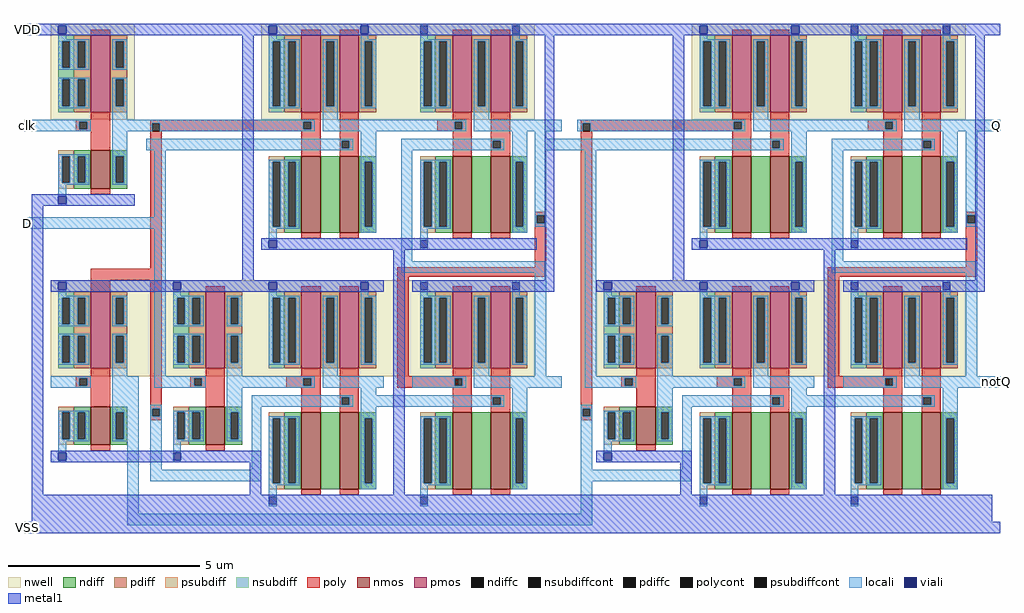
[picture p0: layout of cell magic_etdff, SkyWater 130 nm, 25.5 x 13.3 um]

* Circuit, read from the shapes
.subckt magic_etdff D clk Q notQ VDD VSS
XM1 magic_inv_1/Y magic_inv_1/X VSS VSS sky130_fd_pr__nfet_01v8 w=1 l=0.5
XM2 magic_inv_1/X clk VSS VSS sky130_fd_pr__nfet_01v8 w=1 l=0.5
XM3 magic_dff_0/magic_nand_2/A D VSS VSS sky130_fd_pr__nfet_01v8 w=1 l=0.5
XM4 n1 magic_dff_0/magic_nand_2/A VSS VSS sky130_fd_pr__nfet_01v8 w=2 l=0.5
XM5 n2 magic_inv_1/X VSS VSS sky130_fd_pr__nfet_01v8 w=2 l=0.5
XM6 magic_dff_0/magic_nand_1/B magic_inv_1/X n1 VSS sky130_fd_pr__nfet_01v8 w=2 l=0.5
XM7 magic_dff_0/magic_nand_0/A D n2 VSS sky130_fd_pr__nfet_01v8 w=2 l=0.5
XM8 n3 magic_dff_1/D VSS VSS sky130_fd_pr__nfet_01v8 w=2 l=0.5
XM9 n4 magic_dff_0/magic_nand_0/A VSS VSS sky130_fd_pr__nfet_01v8 w=2 l=0.5
XM10 magic_dff_0/notQ magic_dff_0/magic_nand_1/B n3 VSS sky130_fd_pr__nfet_01v8 w=2 l=0.5
XM11 magic_dff_1/D magic_dff_0/notQ n4 VSS sky130_fd_pr__nfet_01v8 w=2 l=0.5
XM12 magic_dff_1/magic_nand_2/A magic_dff_1/D VSS VSS sky130_fd_pr__nfet_01v8 w=1 l=0.5
XM13 n5 magic_dff_1/magic_nand_2/A VSS VSS sky130_fd_pr__nfet_01v8 w=2 l=0.5
XM14 n6 magic_inv_1/Y VSS VSS sky130_fd_pr__nfet_01v8 w=2 l=0.5
XM15 magic_dff_1/magic_nand_1/B magic_inv_1/Y n5 VSS sky130_fd_pr__nfet_01v8 w=2 l=0.5
XM16 magic_dff_1/magic_nand_0/A magic_dff_1/D n6 VSS sky130_fd_pr__nfet_01v8 w=2 l=0.5
XM17 n7 Q VSS VSS sky130_fd_pr__nfet_01v8 w=2 l=0.5
XM18 n8 magic_dff_1/magic_nand_0/A VSS VSS sky130_fd_pr__nfet_01v8 w=2 l=0.5
XM19 notQ magic_dff_1/magic_nand_1/B n7 VSS sky130_fd_pr__nfet_01v8 w=2 l=0.5
XM20 Q notQ n8 VSS sky130_fd_pr__nfet_01v8 w=2 l=0.5
XM21 magic_inv_1/Y magic_inv_1/X VDD VDD sky130_fd_pr__pfet_01v8 w=2 l=0.5
XM22 magic_inv_1/X clk VDD VDD sky130_fd_pr__pfet_01v8 w=2 l=0.5
XM23 magic_dff_0/magic_nand_2/A D VDD VDD sky130_fd_pr__pfet_01v8 w=2 l=0.5
XM24 magic_dff_0/magic_nand_1/B magic_dff_0/magic_nand_2/A VDD VDD sky130_fd_pr__pfet_01v8 w=2 l=0.5
XM25 magic_dff_0/magic_nand_0/A magic_inv_1/X VDD VDD sky130_fd_pr__pfet_01v8 w=2 l=0.5
XM26 VDD magic_inv_1/X magic_dff_0/magic_nand_1/B VDD sky130_fd_pr__pfet_01v8 w=2 l=0.5
XM27 VDD D magic_dff_0/magic_nand_0/A VDD sky130_fd_pr__pfet_01v8 w=2 l=0.5
XM28 magic_dff_0/notQ magic_dff_1/D VDD VDD sky130_fd_pr__pfet_01v8 w=2 l=0.5
XM29 magic_dff_1/D magic_dff_0/magic_nand_0/A VDD VDD sky130_fd_pr__pfet_01v8 w=2 l=0.5
XM30 VDD magic_dff_0/magic_nand_1/B magic_dff_0/notQ VDD sky130_fd_pr__pfet_01v8 w=2 l=0.5
XM31 VDD magic_dff_0/notQ magic_dff_1/D VDD sky130_fd_pr__pfet_01v8 w=2 l=0.5
XM32 magic_dff_1/magic_nand_2/A magic_dff_1/D VDD VDD sky130_fd_pr__pfet_01v8 w=2 l=0.5
XM33 magic_dff_1/magic_nand_1/B magic_dff_1/magic_nand_2/A VDD VDD sky130_fd_pr__pfet_01v8 w=2 l=0.5
XM34 magic_dff_1/magic_nand_0/A magic_inv_1/Y VDD VDD sky130_fd_pr__pfet_01v8 w=2 l=0.5
XM35 VDD magic_inv_1/Y magic_dff_1/magic_nand_1/B VDD sky130_fd_pr__pfet_01v8 w=2 l=0.5
XM36 VDD magic_dff_1/D magic_dff_1/magic_nand_0/A VDD sky130_fd_pr__pfet_01v8 w=2 l=0.5
XM37 notQ Q VDD VDD sky130_fd_pr__pfet_01v8 w=2 l=0.5
XM38 Q magic_dff_1/magic_nand_0/A VDD VDD sky130_fd_pr__pfet_01v8 w=2 l=0.5
XM39 VDD magic_dff_1/magic_nand_1/B notQ VDD sky130_fd_pr__pfet_01v8 w=2 l=0.5
XM40 VDD notQ Q VDD sky130_fd_pr__pfet_01v8 w=2 l=0.5
.ends

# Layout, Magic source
magic
tech sky130A
<< nwell >>
rect -920 -270 -420 -20
<< poly >>
rect -835 -20 -670 10
rect -835 -40 -785 -20
<< polycont >>
rect -675 370 -655 390
<< locali >>
rect -1010 370 -940 400
rect -725 390 -615 400
rect -725 370 -675 390
rect -655 370 -615 390
rect 1520 370 1540 400
rect 340 320 450 350
rect -1010 115 -640 145
rect -670 110 -640 115
rect -740 -630 -710 -270
rect 1520 -300 1540 -270
rect 445 -630 475 -530
rect -740 -660 475 -630
<< metal1 >>
rect -1010 620 -940 650
rect -730 620 -620 650
rect 385 620 450 650
rect 1520 620 1540 650
rect -990 175 -925 205
rect -990 -580 -960 175
rect -735 -50 -625 -20
rect -725 -495 -615 -465
rect -990 -650 1520 -580
rect -1010 -680 1540 -650
use magic_dff  magic_dff_0
transform 1 0 5 0 1 60
box -695 -670 390 590
use magic_dff  magic_dff_1
transform 1 0 1130 0 1 60
box -695 -670 390 590
use magic_inv  magic_inv_0
transform 1 0 -835 0 1 220
box -105 -45 115 430
use magic_inv  magic_inv_1
transform 1 0 -835 0 1 -450
box -105 -45 115 430
<< labels >>
rlabel locali -1010 115 -990 145 7 D
port 1 w
rlabel locali -1010 370 -990 400 7 clk
port 2 w
rlabel locali 1520 370 1540 400 3 Q
port 3 e
rlabel locali 1520 -300 1540 -270 3 notQ
port 4 e
rlabel metal1 -1010 620 -990 650 7 VDD
port 5 w
rlabel metal1 -1010 -680 -990 -650 7 VSS
port 6 w
<< end >>

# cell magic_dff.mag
magic
tech sky130A
<< nwell >>
rect -395 340 110 590
rect -450 -330 -350 -80
rect -130 -330 90 -80
<< poly >>
rect -685 330 -295 340
rect -685 310 -680 330
rect -660 310 -295 330
rect -685 -415 -655 310
rect 320 90 350 100
rect 320 70 325 90
rect 345 70 350 90
rect 320 -45 350 70
rect -40 -70 350 -45
rect -40 -330 -10 -70
rect -40 -360 120 -330
rect -685 -435 -680 -415
rect -660 -435 -655 -415
rect -685 -445 -655 -435
<< polycont >>
rect -680 310 -660 330
rect 325 70 345 90
rect -680 -435 -660 -415
<< locali >>
rect -695 330 -305 340
rect -695 310 -680 330
rect -660 310 -305 330
rect -80 310 30 340
rect 300 310 390 340
rect -695 260 -390 290
rect -30 260 20 290
rect -675 -360 -645 260
rect -30 -30 0 260
rect 320 90 350 310
rect 320 70 325 90
rect 345 70 350 90
rect 320 60 350 70
rect -30 -60 350 -30
rect 320 -330 350 -60
rect -440 -360 -365 -330
rect 0 -360 20 -330
rect 300 -360 390 -330
rect -685 -415 -655 -405
rect -685 -435 -680 -415
rect -660 -435 -655 -415
rect -685 -575 -655 -435
rect -420 -575 -395 -380
rect -100 -410 20 -380
rect -685 -605 -395 -575
<< metal1 >>
rect -695 560 -385 590
rect -80 560 390 590
rect -445 -80 -415 560
rect -80 0 320 30
rect -445 -85 -390 -80
rect -435 -110 -390 -85
rect -425 -640 -395 -525
rect -50 -640 -20 0
rect 345 -80 370 560
rect 0 -110 370 -80
rect -695 -670 -395 -640
rect -80 -670 390 -640
use magic_inv  magic_inv_0 ~/EE431
transform 1 0 -540 0 1 -510
box -105 -45 115 430
use magic_nand  magic_nand_0 ~/EE431
transform 1 0 105 0 1 160
box -105 -160 220 430
use magic_nand  magic_nand_1
transform 1 0 105 0 1 -510
box -105 -160 220 430
use magic_nand  magic_nand_2
transform 1 0 -290 0 1 -510
box -105 -160 220 430
use magic_nand  magic_nand_3
transform 1 0 -290 0 1 160
box -105 -160 220 430
<< labels >>
rlabel locali -695 310 -675 340 7 clk
port 2 w
rlabel locali -695 260 -675 290 7 D
port 1 w
rlabel locali 370 310 390 340 3 Q
port 3 e
rlabel locali 370 -360 390 -330 3 notQ
port 4 e
rlabel metal1 -695 560 -675 590 7 VDD
port 5 w
rlabel metal1 -695 -670 -675 -640 7 VSS
port 6 w
<< end >>

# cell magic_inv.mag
magic
tech sky130A
<< nwell >>
rect -105 180 115 430
<< nmos >>
rect 0 0 50 100
<< pmos >>
rect 0 200 50 400
<< ndiff >>
rect -45 85 0 100
rect -45 15 -35 85
rect -15 15 0 85
rect -45 0 0 15
rect 50 85 95 100
rect 50 15 65 85
rect 85 15 95 85
rect 50 0 95 15
<< pdiff >>
rect -45 385 0 400
rect -45 315 -35 385
rect -15 315 0 385
rect -45 285 0 315
rect -45 215 -35 285
rect -15 215 0 285
rect -45 200 0 215
rect 50 385 95 400
rect 50 315 65 385
rect 85 315 95 385
rect 50 285 95 315
rect 50 215 65 285
rect 85 215 95 285
rect 50 200 95 215
<< ndiffc >>
rect -35 15 -15 85
rect 65 15 85 85
<< pdiffc >>
rect -35 315 -15 385
rect -35 215 -15 285
rect 65 315 85 385
rect 65 215 85 285
<< psubdiff >>
rect -85 85 -45 100
rect -85 15 -75 85
rect -55 15 -45 85
rect -85 0 -45 15
<< nsubdiff >>
rect -85 385 -45 400
rect -85 315 -75 385
rect -55 315 -45 385
rect -85 285 -45 315
rect -85 215 -75 285
rect -55 215 -45 285
rect -85 200 -45 215
<< psubdiffcont >>
rect -75 15 -55 85
<< nsubdiffcont >>
rect -75 315 -55 385
rect -75 215 -55 285
<< poly >>
rect 0 400 50 415
rect 0 180 50 200
rect -40 175 50 180
rect -40 155 -30 175
rect -10 155 50 175
rect -40 150 50 155
rect 0 100 50 150
rect 0 -15 50 0
<< polycont >>
rect -30 155 -10 175
<< locali >>
rect -85 425 -65 430
rect -85 390 -65 405
rect -85 385 -5 390
rect -85 315 -75 385
rect -55 315 -35 385
rect -15 315 -5 385
rect -85 310 -5 315
rect 55 385 95 390
rect 55 315 65 385
rect 85 315 95 385
rect 55 310 95 315
rect -85 285 -5 290
rect -85 215 -75 285
rect -55 215 -35 285
rect -15 215 -5 285
rect -85 210 -5 215
rect 55 285 95 290
rect 55 215 65 285
rect 85 215 95 285
rect 55 180 95 215
rect -105 175 0 180
rect -105 155 -30 175
rect -10 155 0 175
rect -105 150 0 155
rect 55 150 115 180
rect -85 85 -5 90
rect -85 15 -75 85
rect -55 15 -35 85
rect -15 15 -5 85
rect -85 10 -5 15
rect 55 85 95 150
rect 55 15 65 85
rect 85 15 95 85
rect 55 10 95 15
rect -85 -20 -65 10
rect -85 -45 -65 -40
<< viali >>
rect -85 405 -65 425
rect -85 -40 -65 -20
<< metal1 >>
rect -105 425 115 430
rect -105 405 -85 425
rect -65 405 115 425
rect -105 400 115 405
rect -105 -20 115 -15
rect -105 -40 -85 -20
rect -65 -40 115 -20
rect -105 -45 115 -40
<< labels >>
rlabel locali -105 150 -85 180 7 X
port 1 w
rlabel locali 95 150 115 180 3 Y
port 2 e
rlabel metal1 -105 400 -85 430 7 VDD
port 3 w
rlabel metal1 -105 -45 -85 -15 7 VSS
port 4 w
<< end >>

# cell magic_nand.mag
magic
tech sky130A
<< nwell >>
rect -105 180 215 430
<< nmos >>
rect 0 -115 50 85
rect 100 -115 150 85
<< pmos >>
rect 0 200 50 400
rect 100 200 150 400
<< ndiff >>
rect -45 70 0 85
rect -45 -100 -35 70
rect -15 -100 0 70
rect -45 -115 0 -100
rect 50 -115 100 85
rect 150 70 195 85
rect 150 -100 165 70
rect 185 -100 195 70
rect 150 -115 195 -100
<< pdiff >>
rect -45 385 0 400
rect -45 215 -35 385
rect -15 215 0 385
rect -45 200 0 215
rect 50 385 100 400
rect 50 215 65 385
rect 85 215 100 385
rect 50 200 100 215
rect 150 385 195 400
rect 150 215 165 385
rect 185 215 195 385
rect 150 200 195 215
<< ndiffc >>
rect -35 -100 -15 70
rect 165 -100 185 70
<< pdiffc >>
rect -35 215 -15 385
rect 65 215 85 385
rect 165 215 185 385
<< psubdiff >>
rect -85 70 -45 85
rect -85 -100 -75 70
rect -55 -100 -45 70
rect -85 -115 -45 -100
<< nsubdiff >>
rect -85 385 -45 400
rect -85 215 -75 385
rect -55 215 -45 385
rect -85 200 -45 215
<< psubdiffcont >>
rect -75 -100 -55 70
<< nsubdiffcont >>
rect -75 215 -55 385
<< poly >>
rect 0 400 50 415
rect 100 400 150 415
rect 0 180 50 200
rect -40 175 50 180
rect -40 155 5 175
rect 25 155 50 175
rect -40 150 50 155
rect 0 85 50 150
rect 100 125 150 200
rect 100 105 105 125
rect 125 105 150 125
rect 100 85 150 105
rect 0 -130 50 -115
rect 100 -130 150 -115
<< polycont >>
rect 5 155 25 175
rect 105 105 125 125
<< locali >>
rect -85 425 -65 430
rect -85 390 -65 405
rect 155 425 175 430
rect 155 390 175 405
rect -85 385 -5 390
rect -85 215 -75 385
rect -55 215 -35 385
rect -15 215 -5 385
rect -85 210 -5 215
rect 55 385 95 390
rect 55 215 65 385
rect 85 215 95 385
rect 55 180 95 215
rect 155 385 195 390
rect 155 215 165 385
rect 185 215 195 385
rect 155 210 195 215
rect -105 175 35 180
rect -105 155 5 175
rect 25 155 35 175
rect -105 150 35 155
rect 55 150 215 180
rect -105 125 135 130
rect -105 105 105 125
rect 125 105 135 125
rect -105 100 135 105
rect -85 70 -5 75
rect -85 -100 -75 70
rect -55 -100 -35 70
rect -15 -100 -5 70
rect -85 -105 -5 -100
rect 155 70 195 150
rect 155 -100 165 70
rect 185 -100 195 70
rect -85 -135 -65 -105
rect 155 -115 195 -100
rect -85 -160 -65 -155
<< viali >>
rect -85 405 -65 425
rect 155 405 175 425
rect -85 -155 -65 -135
<< metal1 >>
rect -105 425 215 430
rect -105 405 -85 425
rect -65 405 155 425
rect 175 405 215 425
rect -105 400 215 405
rect -105 -135 220 -130
rect -105 -155 -85 -135
rect -65 -155 220 -135
rect -105 -160 220 -155
<< labels >>
rlabel locali -105 150 -85 180 7 A
port 1 w
rlabel locali -105 100 -85 130 7 B
port 2 w
rlabel locali 195 150 215 180 3 Y
port 3 e
rlabel metal1 -105 400 -85 430 7 VDD
port 4 w
rlabel metal1 -105 -160 -85 -130 7 VSS
port 5 w
<< end >>
